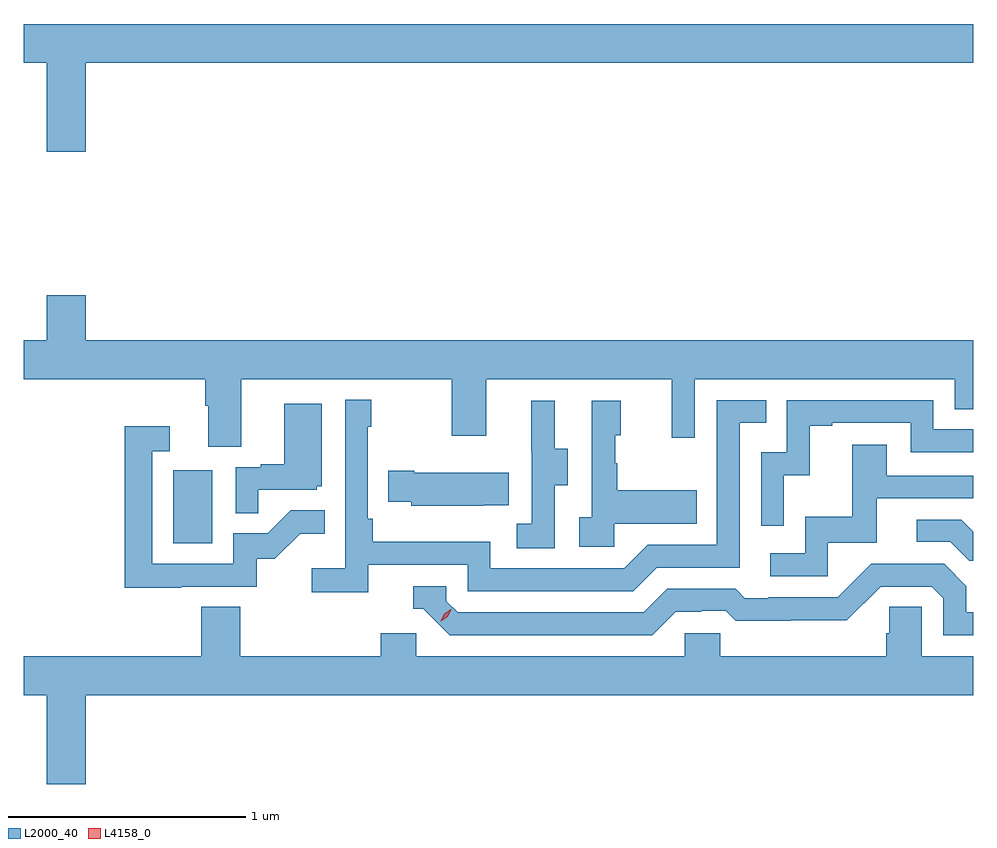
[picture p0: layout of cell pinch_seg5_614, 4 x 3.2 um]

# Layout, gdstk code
import gdstk
lib = gdstk.Library(unit=1e-6, precision=1e-09)
def R(c, l, rs):  # rectangles x0, y0, x1, y1
    for r in rs: c.add(gdstk.rectangle(r[:2], r[2:], *l))
def P(c, l, *ps):  # polygons
    for p in ps: c.add(gdstk.Polygon(p, *l))
L2000_40 = (2000, 40)
L4158_0 = (4158, 0)

pinch_seg5_614 = lib.new_cell('pinch_seg5_614')
R(pinch_seg5_614, L2000_40, [(1016.69,864.06,1016.854,864.367)])
P(pinch_seg5_614, L2000_40, [(1016.32,866.084),(1020.06,866.084),(1020.06,866.248),(1016.06,866.248),(1016.06,866.084),(1016.156,866.084),(1016.156,865.71),(1016.32,865.71)],
  [(1016.977,864.752),(1017.862,864.752),(1017.862,864.513),(1018.009,864.513),(1018.009,864.752),(1018.79,864.752),(1018.79,864.504),(1018.887,864.504),(1018.887,864.752),(1019.982,864.752),(1019.982,864.625),(1020.06,864.625),(1020.06,864.916),(1016.32,864.916),(1016.32,865.105),(1016.156,865.105),(1016.156,864.916),(1016.06,864.916),(1016.06,864.752),(1016.825,864.752),(1016.825,864.64),(1016.837,864.64),(1016.837,864.466),(1016.977,864.466)],
  [(1017.512,863.97),(1017.93,863.97),(1017.93,863.859),(1018.627,863.859),(1018.726,863.958),(1019.076,863.958),(1019.076,864.567),(1019.189,864.567),(1019.189,864.663),(1018.98,864.663),(1018.98,864.054),(1018.689,864.054),(1018.59,863.955),(1018.026,863.955),(1018.026,864.067),(1017.53,864.067),(1017.53,864.163),(1017.51,864.163),(1017.51,864.551),(1017.523,864.551),(1017.523,864.664),(1017.414,864.664),(1017.414,863.956),(1017.273,863.956),(1017.273,863.854),(1017.512,863.854)],
  [(1019.262,864.347),(1019.372,864.347),(1019.372,864.555),(1019.467,864.555),(1019.467,864.567),(1019.796,864.567),(1019.796,864.444),(1020.06,864.444),(1020.06,864.54),(1019.892,864.54),(1019.892,864.663),(1019.274,864.663),(1019.274,864.444),(1019.166,864.444),(1019.166,864.135),(1019.262,864.135)],
  [(1018.548,864.143),(1018.895,864.143),(1018.895,864.283),(1018.561,864.283),(1018.561,864.398),(1018.551,864.398),(1018.551,864.516),(1018.576,864.516),(1018.576,864.661),(1018.452,864.661),(1018.452,864.17),(1018.401,864.17),(1018.401,864.045),(1018.548,864.045)],
  [(1018.296,864.304),(1018.351,864.304),(1018.351,864.459),(1018.297,864.459),(1018.297,864.661),(1018.199,864.661),(1018.199,864.447),(1018.2,864.447),(1018.2,864.143),(1018.137,864.143),(1018.137,864.04),(1018.296,864.04)],
  [(1017.047,864.285),(1017.294,864.285),(1017.294,864.3),(1017.316,864.3),(1017.316,864.649),(1017.158,864.649),(1017.158,864.394),(1017.059,864.394),(1017.059,864.381),(1016.952,864.381),(1016.952,864.187),(1017.047,864.187)],
  [(1016.723,863.877),(1017.042,863.877),(1017.042,863.994),(1017.118,863.994),(1017.225,864.101),(1017.329,864.101),(1017.329,864.2),(1017.185,864.2),(1017.087,864.102),(1016.943,864.102),(1016.943,863.973),(1016.601,863.973),(1016.601,864.447),(1016.674,864.447),(1016.674,864.553),(1016.485,864.553),(1016.485,863.872),(1016.723,863.872)],
  [(1019.448,864.063),(1019.653,864.063),(1019.653,864.249),(1020.06,864.249),(1020.06,864.345),(1019.695,864.345),(1019.695,864.475),(1019.551,864.475),(1019.551,864.172),(1019.352,864.172),(1019.352,864.018),(1019.205,864.018),(1019.205,863.922),(1019.448,863.922)],
  [(1017.995,864.221),(1018.103,864.221),(1018.103,864.358),(1017.706,864.358),(1017.706,864.366),(1017.595,864.366),(1017.595,864.236),(1017.693,864.236),(1017.693,864.218),(1017.995,864.218)],
  [(1020.06,864.109),(1020.01,864.159),(1019.823,864.159),(1019.823,864.066),(1019.964,864.066),(1020.044,863.986),(1020.06,863.986)],
  [(1018.807,863.772),(1018.914,863.772),(1018.914,863.775),(1019.017,863.775),(1019.059,863.733),(1019.292,863.733),(1019.292,863.735),(1019.528,863.735),(1019.67,863.877),(1019.886,863.877),(1019.934,863.829),(1019.934,863.673),(1020.06,863.673),(1020.06,863.769),(1020.031,863.769),(1020.031,863.879),(1019.937,863.973),(1019.631,863.973),(1019.49,863.832),(1019.197,863.832),(1019.197,863.829),(1019.098,863.829),(1019.059,863.868),(1018.77,863.868),(1018.671,863.769),(1017.888,863.769),(1017.84,863.817),(1017.84,863.88),(1017.701,863.88),(1017.701,863.784),(1017.744,863.784),(1017.855,863.673),(1018.708,863.673)],
  [(1016.32,863.42),(1020.06,863.42),(1020.06,863.584),(1019.844,863.584),(1019.844,863.792),(1019.707,863.792),(1019.707,863.682),(1019.693,863.682),(1019.693,863.584),(1018.995,863.584),(1018.995,863.682),(1018.845,863.682),(1018.845,863.584),(1017.714,863.584),(1017.714,863.682),(1017.563,863.682),(1017.563,863.584),(1016.972,863.584),(1016.972,863.792),(1016.807,863.792),(1016.807,863.584),(1016.06,863.584),(1016.06,863.42),(1016.156,863.42),(1016.156,863.046),(1016.32,863.046)])
P(pinch_seg5_614, L4158_0, [(1017.816,863.731),(1017.816,863.732),(1017.832,863.764),(1017.862,863.784),(1017.863,863.784),(1017.863,863.784),(1017.847,863.751),(1017.817,863.731)])

lib.write_gds('pinch_seg5_614.gds')
